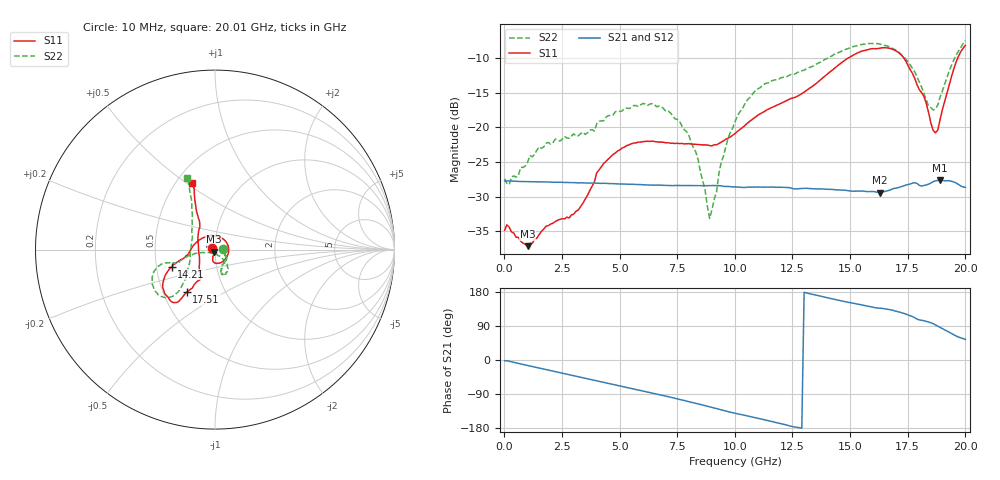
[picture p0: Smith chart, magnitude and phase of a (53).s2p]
! Hittite Microwave Corporation
! 2 Elizabeth Drive
! Chelmsford, MA 01824
! http://www.hittite.com
! Tel: 978-250-3343
! Fax: 978-250-3373
! Device:  HMC424LP3
! Description: 0.5 dB GaAs MMIC 6-Bit Digital Attenuator
! Frequency:  DC -  13.00 GHz
! Package:  LP3  - 3x3 mm Quad Flatpack No-Lead (QFN) Plastic Package: 16 pin
! Ports:  2 RF, 7 DC
!  Pad  1  = Ground
!  Pad  2  = RF IN  =  Port 1
!  Pad  3  = Ground
!  Pad  4  = V6
!  Pad  5  = V5
!  Pad  6  = V4
!  Pad  7  = V3
!  Pad  8  = V2
!  Pad  9  = V1
!  Pad 10  = Ground
!  Pad 11  = RF OUT  = Port 2
!  Pad 12  = Ground
!  Pad 15  = VEE
! Control:  -5 Volt control voltage
! State:  51
! Attenuation:  25.5 dB
! Voltages:  Vdd = -5.00 Volts  Idd =  -2.514 mA
!  V1  = -5.00 Volts  I1  =  -1.0 uA
!  V2  = -5.00 Volts  I2  =  -1.0 uA
!  V3  = 0.00 Volts  I3  =  29.0 uA
!  V4  = 0.00 Volts  I4  =  29.0 uA
!  V5  = -5.00 Volts  I5  =  -1.0 uA
!  V6  = -5.00 Volts  I6  =  -1.0 uA
! Data:  The device was measured on evaluation board 105354-1.
!  Data was collected using a calibrated network analyzer.
!  The evaluation circuit board was modeled and simulated.  This was use
!  to removed the evaluation board circuit from the measured data.
!  The reference plane is the edge of the package pin.
! Misc:  Lot xxxx, Unit 1
!  Application 20120001, Data collected in Application 20090083
! Date Measured:  2009-09-15
! Date:  2012-05-14  MJV
! Note:
!  Hittite supplies this data as a sample of measured data at the package pin
!  for this product.  Your particular data for this product may vary.
!  Data was taken at 25 degrees C.
!  Hittite reserves the right to change this data at anytime.
# GHz S MA R 50
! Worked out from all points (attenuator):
!   201 points, 10 MHz to 20.01 GHz, reference 50 ohm
!   highest |S21| = -27.64 dB at 18.91 GHz (marker M1); lowest = -29.4 dB at 16.31 GHz (marker M2)
!   lowest |S11| = -37.2 dB at 1.01 GHz (marker M3), VSWR 1.03, Z = 49.3 - j1.19 ohm
!   |S11| at or under -10 dB: start of sweep to 14.89 GHz; 17.35 GHz to 19.67 GHz (2.323 GHz wide, 12.6 % of centre)
!   |S22| runs from -33.2 to -7.4 dB; largest |S21 - S12| = 0.00023
!   S11 on the Smith chart (normalised r, x): 10 MHz: 0.97, +0.01; 14.21 GHz: 0.60, -0.12; 17.51 GHz: 0.66, -0.34; 20.01 GHz: 0.60, +0.53
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0.01  0.018 156.3  0.04097 -2.0  0.04073 -2.1  0.04251 8.2
0.21  0.01895 -174.1  0.04096 -3.3  0.04101 -3.5  0.03859 -7.8
1.01  0.01382 -119.0  0.04055 -14.5  0.0406 -14.6  0.05618 -28.2
3.41  0.02831 -95.8  0.03971 -46.9  0.03969 -46.8  0.09253 -54.2
4.71  0.06358 -100.9  0.03922 -64.4  0.03909 -64.3  0.1228 -74.4
6.71  0.07832 -47.2  0.03825 -91.1  0.03818 -91.2  0.143 -63.3
8.01  0.07638 15.7  0.03794 -109.7  0.03794 -109.8  0.08728 -48.0
8.41  0.0753 36.6  0.03786 -115.7  0.03776 -115.8  0.0586 -48.2
8.91  0.07396 65.6  0.03795 -123.5  0.03781 -123.7  0.02196 -101.7
9.41  0.07811 97.0  0.03778 -131.9  0.03774 -131.9  0.05603 -160.1
10.01  0.09035 130.3  0.0372 -140.5  0.03708 -140.4  0.1099 -169.0
11.21  0.1284 175.0  0.03699 -156.8  0.03693 -156.8  0.2023 -162.6
13.41  0.2009 -163.2  0.03598 172.8  0.03592 172.8  0.2784 -164.7
14.21  0.2583 -158.6  0.03562 161.6  0.03547 161.5  0.329 -163.7
16.31  0.3755 -132.8  0.03377 136.7  0.03379 136.7  0.4018 -140.1
16.71  0.375 -128.0  0.0351 133.1  0.03503 133.1  0.3839 -135.6
17.51  0.2837 -123.6  0.03861 119.2  0.03855 119.3  0.2997 -131.2
18.21  0.1675 -119.7  0.03798 103.7  0.03784 103.8  0.1763 -147.2
18.61  0.09526 -156.0  0.04048 95.9  0.04044 95.7  0.134 175.0
18.91  0.1139 147.1  0.04148 85.7  0.04134 85.6  0.1658 141.3
19.61  0.2988 112.1  0.03963 63.1  0.03951 63.1  0.3348 114.0
20.01  0.3934 109.2  0.03688 54.5  0.03691 54.8  0.4268 111.5
